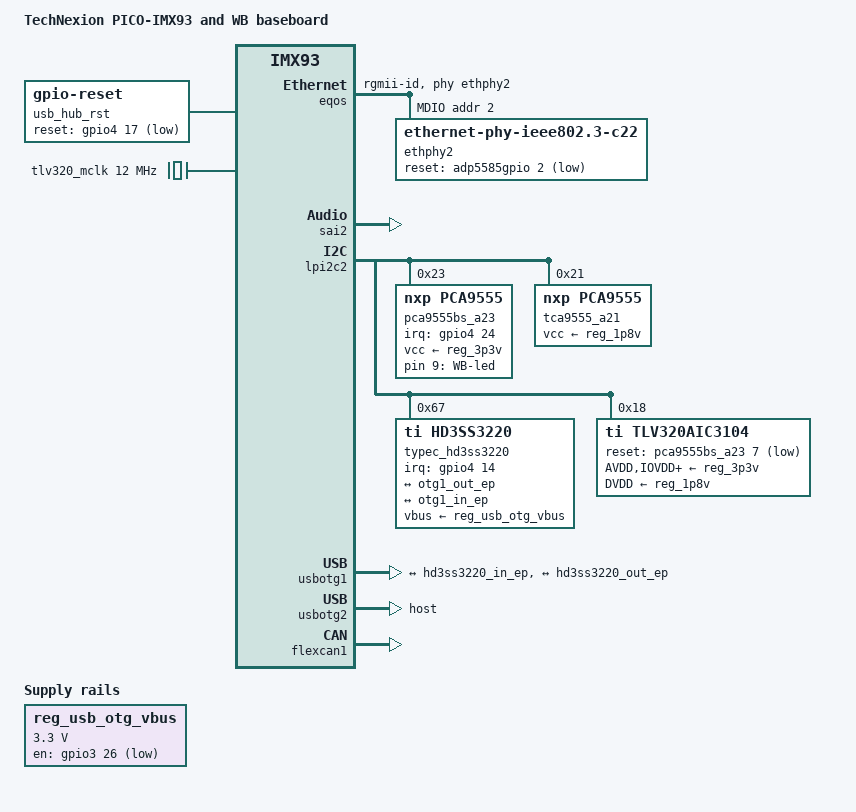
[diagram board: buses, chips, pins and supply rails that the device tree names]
// SPDX-License-Identifier: (GPL-2.0+ OR MIT)
/*
 * Copyright 2022 NXP
 */

/dts-v1/;

#include <dt-bindings/usb/pd.h>
#include "imx93-pico.dtsi"

/ {
	model = "TechNexion PICO-IMX93 and WB baseboard";
	compatible = "fsl,imx93-pico", "fsl,imx93";

	reg_usb_otg_vbus: usb_otg_vbus {
		compatible = "regulator-fixed";
		pinctrl-names = "default";
		pinctrl-0 = <&pinctrl_usb_otg_vbus>;
		regulator-name = "usb_otg_vbus";
		regulator-min-microvolt = <3300000>;
		regulator-max-microvolt = <3300000>;
		gpio = <&gpio3 26 GPIO_ACTIVE_LOW>;
		enable-active-low;
	};

	usb_hub_rst: usb_hub_rst {
		compatible = "gpio-reset";
		pinctrl-names = "default";
		pinctrl-0 = <&pinctrl_usb_hub_rst>;
		reset-gpios = <&gpio4 17 GPIO_ACTIVE_LOW>;
		reset-delay-us = <10>;
		#reset-cells = <0>;
	};

	reg_lvds_pwr: regulator_lvdspwr {
		compatible = "regulator-fixed";
		regulator-name = "lvds0_vdden";
		regulator-min-microvolt = <3300000>;
		regulator-max-microvolt = <3300000>;
		gpio = <&adp5585gpio 5 GPIO_ACTIVE_HIGH>;
		enable-active-high;
		status = "disabled";
	};


	reg_lvds_backlight_pwr: regulator_lvdsblpwr {
		compatible = "regulator-fixed";
		regulator-name = "lvds0_bl_en";
		regulator-min-microvolt = <3300000>;
		regulator-max-microvolt = <3300000>;
		gpio = <&adp5585gpio 6 GPIO_ACTIVE_HIGH>;
		enable-active-high;
		regulator-always-on;
		status = "disabled";
	};

	reg_mipi_backlight_pwr: regulator_mipiblpwr {
		compatible = "regulator-fixed";
		regulator-name = "mipi_bl_en";
		regulator-min-microvolt = <3300000>;
		regulator-max-microvolt = <3300000>;
		gpio = <&pca9555bs_a23 0 GPIO_ACTIVE_HIGH>;
		enable-active-high;
		regulator-always-on;
		status = "disabled";
	};


	disp_backlight: disp_backlight {
		compatible = "pwm-backlight";
		pwms = <&adp5585pwm 0 50000 0>;
		brightness-levels = <0 36 72 108 144 180 216 255>;
		default-brightness-level = <6>;
		status = "disabled";
	};

	tlv320_mclk: clk-0 {
		#clock-cells = <0>;
		compatible = "fixed-clock";
		clock-frequency = <12000000>;
	};

	sound {
		compatible = "simple-audio-card";
		simple-audio-card,name = "tlv320aic3x-audio";
		simple-audio-card,widgets =
			"Headphone", "Headphone Jack",
			"Microphone", "Mic Jack";
		simple-audio-card,routing =
			"Headphone Jack", "HPLOUT",
			"Headphone Jack", "HPROUT",
			"MIC2R", "Mic Jack",
			"Mic Jack", "Mic Bias";
		simple-audio-card,format = "dsp_b";
		simple-audio-card,bitclock-master = <&sound_master>;
		simple-audio-card,frame-master = <&sound_master>;
		simple-audio-card,bitclock-inversion;
		status = "okay";

		simple-audio-card,cpu {
			sound-dai = <&sai2>;
		};

		sound_master: simple-audio-card,codec {
			sound-dai = <&tlv320aic3104>;
			clocks = <&tlv320_mclk>;
		};
	};

	leds {
		compatible = "gpio-leds";

		led_1 {
			label = "WB-led";
			gpios = <&pca9555bs_a23 9 GPIO_ACTIVE_HIGH>;
			default-state = "on";
		};
	};
};

&eqos {
	pinctrl-names = "default";
	pinctrl-0 = <&pinctrl_eqos>;
	phy-mode = "rgmii-id";
	phy-handle = <&ethphy2>;
	status = "okay";

	mdio {
		compatible = "snps,dwmac-mdio";
		#address-cells = <1>;
		#size-cells = <0>;
		clock-frequency = <5000000>;

		ethphy2: ethernet-phy@2 {
			/* Atheros AR8035 PHY */
			compatible = "ethernet-phy-ieee802.3-c22";
			reg = <2>;
			reset-gpios = <&adp5585gpio 2 GPIO_ACTIVE_LOW>;
			reset-assert-us = <35000>;
			reset-deassert-us = <75000>;
			eee-broken-1000t;
			at803x,eee-disabled;
			at803x,vddio-1p8v;
			realtek,aldps-disable;
			realtek,clkout-disable;
		};
	};
};

&sai2 {
	status = "okay";
};

&lpi2c2 {
	status = "okay";

	pca9555bs_a23: pca9555bs@23 {
		compatible = "nxp,pca9555";
		reg = <0x23>;
		vcc-supply = <&reg_3p3v>;
		pinctrl-names = "default";
		pinctrl-0 = <&pinctrl_pca9555bs_a23_irq>;
		gpio-controller;
		#gpio-cells = <2>;
		interrupt-controller;
		#interrupt-cells = <2>;
		interrupt-parent = <&gpio4>;
		interrupts = <24 IRQ_TYPE_LEVEL_LOW>;
		status = "okay";
		gpio-line-names = "MIPI_BL_EN", "MIPI_TE", "MIPI_RST", "FAULT",
					"EXT_GPIO8_M2_WAN_WAKE", "EXT_GPIO9_M2_RST_N", "CSI1_PDB", "AUD_A_RST",
					"M2_DISABLE_N", "LED_EN", "CAM_EXT_INT", "EXT_IO1_3_VH22",
					"EXT_IO1_4_VH32", "EXT_IO1_5_VH36", "EXT_IO1_6_VH38", "EXT_IO1_7_VH40";
	};

	tca9555_a21: tca9555@21 {
		compatible = "nxp,pca9555";
		reg = <0x21>;
		vcc-supply = <&reg_1p8v>;
		gpio-controller;
		#gpio-cells = <2>;
		// interrupt-controller;
		// #interrupt-cells = <2>;
		// interrupt-parent = <&pca9555bs_a23>;
		// interrupts = <10 IRQ_TYPE_EDGE_FALLING>;
		gpio-line-names = "EXPOSURE_TRIG_IN1", "FLASH_OUT1","INFO_TRIG_IN1", "CAM_SHUTTER1",
			"XVS1", "PWR1_TIME0","PWR1_TIME1", "PWR1_TIME2",
			"", "","", "","", "","", "";
	};

	typec_hd3ss3220: hd3ss3220@67 {
		compatible = "ti,hd3ss3220";
		interrupts-extended = <&gpio4 14 IRQ_TYPE_LEVEL_LOW>;
		vbus-supply = <&reg_usb_otg_vbus>;
		reg = <0x67>;

		ports {
			#address-cells = <1>;
			#size-cells = <0>;

			port@0 {
				reg = <0>;
				hd3ss3220_in_ep: endpoint {
					remote-endpoint = <&otg1_out_ep>;
				};
			};

			port@1 {
				reg = <1>;
				hd3ss3220_out_ep: endpoint {
					remote-endpoint = <&otg1_in_ep>;
				};
			};
		};
	};

	tlv320aic3104: audio-codec@18 {
		#sound-dai-cells = <0>;
		compatible = "ti,tlv320aic3104";
		reg = <0x18>;
		status = "okay";
		reset-gpios = <&pca9555bs_a23 7 GPIO_ACTIVE_LOW>;
		ai3x-ocmv = <0>;
		ai3x-micbias-vg = <1>;		/* 2.0V */

		/* Regulators */
		AVDD-supply = <&reg_3p3v>;
		IOVDD-supply = <&reg_3p3v>;
		DRVDD-supply = <&reg_3p3v>;
		DVDD-supply = <&reg_1p8v>;
	};
};

&usbotg1 {
	ports {
		#address-cells = <1>;
		#size-cells = <0>;

		port@0 {
			reg = <0>;
			otg1_out_ep: endpoint {
				remote-endpoint = <&hd3ss3220_in_ep>;
			};
		};

		port@1 {
			reg = <1>;
			otg1_in_ep: endpoint {
				remote-endpoint = <&hd3ss3220_out_ep>;
			};
		};
	};
};

&usbotg2 {
	dr_mode = "host";
	status = "okay";
};

&flexcan1 {
	status = "okay";
};

&gpio4 {
	pinctrl-names = "default";
	pinctrl-0 = <&pinctrl_vh_gpio4>;

	gpio-line-names = "", "", "", "",
			"", "", "", "",
			"", "", "", "",
			"", "", "PD_INTn", "TOUCH_INTn",
			"", "USB_HUB_RESET", "VH_P29_GPIO", "VH_P31_GPIO",
			"", "", "PCA9555BS_INT", "MIPI_TOUCH_INTn",
			"", "TOUCH_RSTn", "", "",
			"", "", "", "";
};
